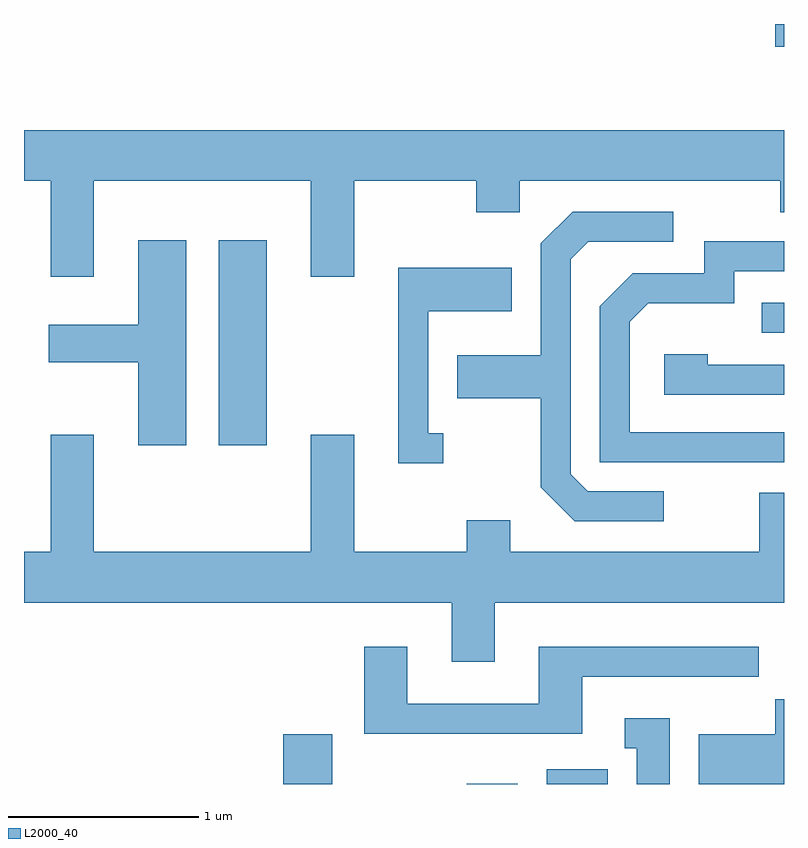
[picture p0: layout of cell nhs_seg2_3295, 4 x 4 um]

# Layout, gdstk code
import gdstk
lib = gdstk.Library(unit=1e-6, precision=1e-09)
def R(c, l, rs):  # rectangles x0, y0, x1, y1
    for r in rs: c.add(gdstk.rectangle(r[:2], r[2:], *l))
def P(c, l, *ps):  # polygons
    for p in ps: c.add(gdstk.Polygon(p, *l))
L2000_40 = (2000, 40)

nhs_seg2_3295 = lib.new_cell('nhs_seg2_3295')
R(nhs_seg2_3295, L2000_40, [(282.976,1051.802,283.234,1052.064), (283.941,1051.802,284.209,1051.804), (284.361,1051.802,284.684,1051.879), (282.636,1053.586,282.889,1054.664), (285.493,1054.176,285.611,1054.334), (285.566,1055.681,285.611,1055.802)])
P(nhs_seg2_3295, L2000_40, [(281.979,1054.976),(283.121,1054.976),(283.121,1054.471),(283.349,1054.471),(283.349,1054.976),(283.991,1054.976),(283.991,1054.811),(284.219,1054.811),(284.219,1054.976),(285.591,1054.976),(285.591,1054.811),(285.611,1054.811),(285.611,1055.244),(281.611,1055.244),(281.611,1054.976),(281.751,1054.976),(281.751,1054.471),(281.979,1054.471)],
  [(284.978,1053.344),(284.577,1053.344),(284.489,1053.432),(284.489,1054.564),(284.582,1054.656),(285.028,1054.656),(285.028,1054.814),(284.499,1054.814),(284.331,1054.647),(284.331,1054.059),(283.891,1054.059),(283.891,1053.831),(284.331,1053.831),(284.331,1053.364),(284.509,1053.186),(284.978,1053.186)],
  [(282.464,1054.664),(282.211,1054.664),(282.211,1054.219),(281.741,1054.219),(281.741,1054.021),(282.211,1054.021),(282.211,1053.586),(282.464,1053.586)],
  [(285.611,1053.654),(284.799,1053.654),(284.799,1054.234),(284.897,1054.331),(285.349,1054.331),(285.349,1054.501),(285.611,1054.501),(285.611,1054.659),(285.191,1054.659),(285.191,1054.489),(284.814,1054.489),(284.641,1054.317),(284.641,1053.496),(285.611,1053.496)],
  [(283.818,1053.649),(283.739,1053.649),(283.739,1054.291),(284.179,1054.291),(284.179,1054.519),(283.581,1054.519),(283.581,1053.491),(283.818,1053.491)],
  [(285.611,1054.009),(285.209,1054.009),(285.209,1054.064),(284.981,1054.064),(284.981,1053.851),(285.611,1053.851)],
  [(284.089,1052.756),(285.611,1052.756),(285.611,1053.334),(285.481,1053.334),(285.481,1053.024),(284.169,1053.024),(284.169,1053.189),(283.941,1053.189),(283.941,1053.024),(283.349,1053.024),(283.349,1053.639),(283.121,1053.639),(283.121,1053.024),(281.979,1053.024),(281.979,1053.639),(281.751,1053.639),(281.751,1053.024),(281.611,1053.024),(281.611,1052.756),(283.861,1052.756),(283.861,1052.446),(284.089,1052.446)],
  [(284.549,1052.366),(285.478,1052.366),(285.478,1052.524),(284.321,1052.524),(284.321,1052.224),(283.629,1052.224),(283.629,1052.524),(283.401,1052.524),(283.401,1052.066),(284.549,1052.066)],
  [(285.611,1052.249),(285.566,1052.249),(285.566,1052.064),(285.161,1052.064),(285.161,1051.802),(285.611,1051.802)],
  [(285.009,1052.149),(284.773,1052.149),(284.773,1051.991),(284.836,1051.991),(284.836,1051.802),(285.009,1051.802)])

lib.write_gds('nhs_seg2_3295.gds')
